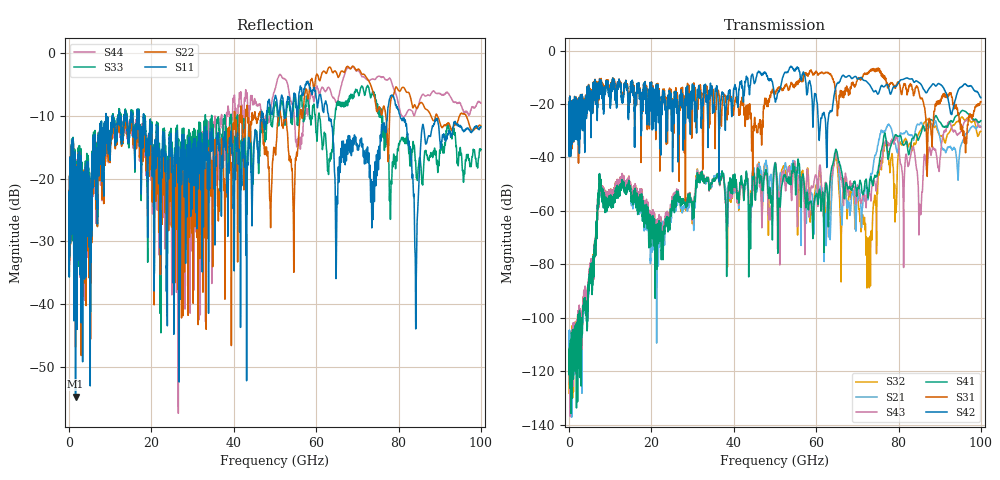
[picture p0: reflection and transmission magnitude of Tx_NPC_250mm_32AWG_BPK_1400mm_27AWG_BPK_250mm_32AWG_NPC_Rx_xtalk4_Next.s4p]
! Info: Touchstone file created by Circ.  Input file=Tx_NPC_250mm_32AWG_BPK_1400mm_27AWG_BPK_250mm_32AWG_NPC_Rx.circ
# Hz S RI R 50
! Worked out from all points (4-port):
!   10000 points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, 10 MHz to 100 GHz, reference 50 ohm
!   strongest paths, dB at 10 MHz, 25.01 GHz, 50.01 GHz, 75.01 GHz, 100 GHz:
!     S42: -25.8, -19.4, -18.4, -16.3, -17.6
!     S31: -25.8, -18.4, -15.5, -6.8, -19.2
!     S41: -112.2, -56.2, -42.3, -45.6, -26.2
!     S43: -115.2, -54.5, -42.3, -45.2, -28.6
!     S21: -110.5, -57.3, -42.0, -35.4, -28.6
!     S32: -114.0, -55.4, -42.6, -47.5, -30.2
!   lowest |S11| = -54.8 dB at 1.57 GHz (marker M1), VSWR 1.00, Z = 49.9 + j0.166 ohm
!   |S11| at or under -10 dB: 18.15 GHz to 46.67 GHz (28.52 GHz wide, 88 % of centre); 63 GHz to 77.29 GHz (14.3 GHz wide, 20.4 % of centre); 80.37 GHz to end of sweep (the widest 3 of 31)
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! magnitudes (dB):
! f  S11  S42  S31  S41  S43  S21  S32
! 10 MHz  -22.0  -25.8  -25.8  -112.2  -115.2  -110.5  -114.0
! 1.57 GHz  -54.8  -28.6  -28.4  -119.5  -106.6  -119.5  -103.9
! 64.66 GHz  -23.7  -14.3  -14.1  -37.7  -38.7  -39.3  -40.0
! 72.77 GHz  -15.9  -12.4  -8.3  -52.3  -52.7  -52.1  -70.8
! 76.75 GHz  -12.1  -13.2  -11.0  -31.3  -34.4  -29.9  -35.3
! 85.33 GHz  -15.2  -12.4  -18.0  -31.5  -61.5  -27.0  -29.9
! 100 GHz  -11.7  -17.6  -19.2  -26.2  -28.6  -28.6  -30.2
